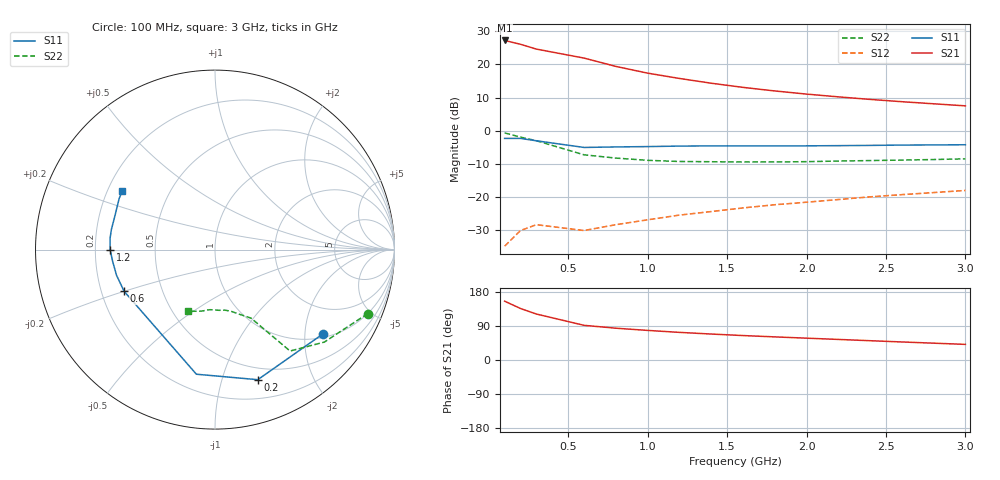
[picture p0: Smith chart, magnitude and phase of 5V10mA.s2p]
#  HZ  S  MA  R  50.0000
! Device:MCH4015
! Bias:VCE=5V, IC=10mA  "
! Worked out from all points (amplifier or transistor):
!   16 points, 100 MHz to 3 GHz, reference 50 ohm
!   highest |S21| = 27.2 dB at 100 MHz (marker M1)
!   |S21| within 3 dB of that: start of sweep to 343.3 MHz
!   unconditionally stable (mu >= 1): 1.685 GHz to 2.864 GHz
!   at 300 MHz: K = 0.12, MSG = 26.5 dB, |S12| = -28.4 dB
!   at 1.6 GHz: K = 0.99, MSG = 18.2 dB, |S12| = -23.3 dB
!   at 3 GHz: K = 0.99, MSG = 12.8 dB, |S12| = -18.1 dB
!   S11 on the Smith chart (normalised r, x): 100 MHz: 1.10, -2.47; 200 MHz: 0.38, -1.31; 600 MHz: 0.30, -0.20; 1.2 GHz: 0.26, -0.00; 3 GHz: 0.26, +0.27
1e8  0.763 -38.0  22.98 155.3  0.018 71.5  0.923 -22.7
2e8  0.763 -71.8  20.12 135.9  0.031 58.6  0.798 -40.2
3e8  0.702 -98.5  17.02 121.3  0.038 50.6  0.703 -53.5
6e8  0.557 -155.3  12.45 91.5  0.031 61.4  0.431 -62.3
8e8  0.567 -165.4  9.326 83.9  0.038 64.3  0.385 -69.3
1e9  0.574 -173.4  7.376 78.1  0.045 66.1  0.356 -75.2
1.2e9  0.584 -179.8  6.134 72.9  0.053 67.5  0.342 -80.6
1.4e9  0.588 173.9  5.198 68.5  0.06 68.4  0.339 -86.2
1.6e9  0.588 168.8  4.498 64.5  0.068 68.2  0.336 -91.1
1.8e9  0.587 164.3  3.971 61.0  0.076 68.6  0.336 -94.7
2e9  0.589 160.7  3.559 57.6  0.083 68.8  0.34 -97.7
2.2e9  0.593 157.7  3.234 54.3  0.091 68.5  0.347 -100.6
2.4e9  0.598 154.9  2.96 50.9  0.1 67.9  0.353 -103.6
2.6e9  0.605 152.0  2.733 47.6  0.108 67.5  0.359 -106.9
2.8e9  0.608 149.6  2.541 44.4  0.116 66.8  0.366 -110.2
3e9  0.612 147.5  2.366 41.2  0.125 65.9  0.375 -114.0
